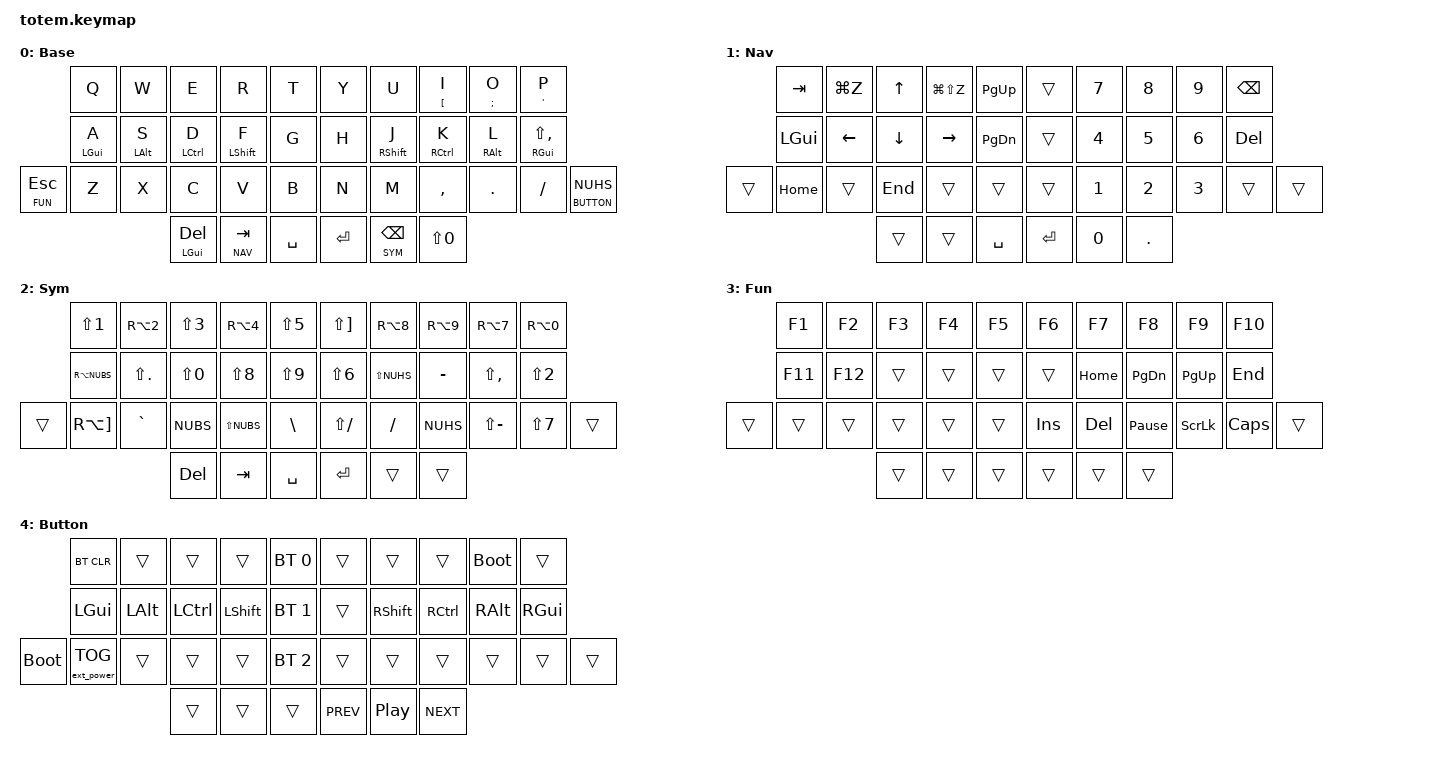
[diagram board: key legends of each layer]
//
//                                                        ▀▀▀▀▀     ▀▀▀▀▀          ▀▀█▀▀
//                                                        ▄▀▀▀▄  ▄  ▄▀▀▀▄  ▄  ▄▀▀▀▄  █  ▄▀▀▀▄
//                                                        █   █  █  █   █  █  █   █  █  █   █
//                                                         ▀▀▀   █   ▀▀▀   █   ▀▀▀   ▀   ▀▀▀
//                                                               █      ▄▄▄█▄▄▄    █   █
//                                                               ▀      █  █  █     █▄█
//                                                             ▀▀▀▀▀    █  █  █      ▀
//                                                                       ▀  ▀  ▀
//
// Totem ZMK — Mac Programmer Edition
// Norwegian Mac Layout · SQL Optimised · 5 Layers · ZMK main branch
//
// Requires macOS keyboard set to "Norwegian" (Bokmål).
//
// ── HOME ROW MODS  (GACS order, pinky → index) ──────────────────────────────
//   Left:  A=⌘Cmd  S=⌥Opt  D=^Ctrl  F=⇧Shift
//   Right: J=⇧Shift  K=^Ctrl  L=⌥Opt  ;=;  (see note below)
//
//   NOTE: On Norwegian Mac, SEMI keycode → Ø.
//   Position 19 (right pinky home) uses LS(COMMA) → ; (semicolon).
//   Right pinky home:  tap=;   hold=⌘Cmd
//
// ── NORDIC CHARS  (hold for 250 ms on top row right hand) ───────────────────
//   I hold → Å    O hold → Ø    P hold → Æ
//   (tap gives the normal letter)
//
// ── LAYER ACCESS ─────────────────────────────────────────────────────────────
//   Hold ESC  → Fun (3)      Tap ESC  → Escape
//   Hold Tab  → Nav (1)      Tap Tab  → Tab
//   Hold BSpc → Sym (2)      Tap BSpc → Backspace
//   Hold '    → Button (4)   Tap '    → ' (NUHS → single quote on Norwegian)
//
// ── KEY NOTES  (Norwegian Mac layout differences from US) ───────────────────
//   SLASH   → -     LS(SLASH) → _
//   MINUS   → +     LS(MINUS) → ?
//   LS(N0)  → =     LS(COMMA) → ;     LS(DOT)  → :     LS(N2) → "
//   LS(N7)  → /     LS(N8)   → (     LS(N9)   → )     LS(N6) → &
//   LS(N1)  → !     RA(N2)   → @     LS(N3)   → #     RA(N4) → $
//   LS(N5)  → %     LS(RBKT) → ^     RA(RBKT) → ~
//   RA(N7)  → {     RA(N8)   → [     RA(N9)   → ]     RA(N0) → }
//   NUBS    → <     LS(NUBS) → >     RA(NUBS) → |
//   NUHS    → '     LS(NUHS) → *     LS(N2)   → "
//   BSLH    → \  (test first; EQUAL may give \ on some systems)
//   GRAVE   → ` (may be dead key — test)
//
// ── COMBOS  (180 ms · bottom row only — home row excluded) ──────────────────
//   Z + X  → Escape
//   N + M  → Screenshot  (⌘⇧4)
//
// See docs/keymap-reference.md for the visual layer map.

#include <behaviors.dtsi>
#include <dt-bindings/zmk/bt.h>
#include <dt-bindings/zmk/ext_power.h>
#include <dt-bindings/zmk/keys.h>

#define BASE    0
#define NAV     1
#define SYM     2
#define FUN     3
#define BUTTON  4

// ─── Global behaviour tweaks ────────────────────────────────────────────────

&mt {
    tapping-term-ms = <200>;
    flavor = "tap-preferred";
    quick-tap-ms = <150>;
};

&lt {
    tapping-term-ms = <250>;
    flavor = "balanced";
    quick-tap-ms = <175>;
};

// ─── Root ───────────────────────────────────────────────────────────────────

/ {

    behaviors {

        // Home row mod — balanced flavour + prior-idle guard.
        // Prevents accidental modifier during fast typing.
        // Hold action fires only if held past 280 ms OR released after another
        // key that was pressed while this was held.
        hm: homerow_mods {
            compatible = "zmk,behavior-hold-tap";
            #binding-cells = <2>;
            flavor = "balanced";
            tapping-term-ms = <280>;
            quick-tap-ms = <175>;
            require-prior-idle-ms = <150>;
            bindings = <&kp>, <&kp>;
        };

        // Nordic character hold-tap — tap-preferred flavour.
        // Tap quickly → normal letter.  Hold 250 ms → Nordic character.
        // No prior-idle guard here so Norwegian characters work smoothly
        // when typing Norwegian words in sequence.
        //
        //   &ht_no LBKT I   →  tap=I   hold=Å  (LBKT = Å on Norwegian Mac)
        //   &ht_no SEMI O   →  tap=O   hold=Ø  (SEMI = Ø on Norwegian Mac)
        //   &ht_no SQT  P   →  tap=P   hold=Æ  (SQT  = Æ on Norwegian Mac)
        ht_no: hold_tap_nordic {
            compatible = "zmk,behavior-hold-tap";
            #binding-cells = <2>;
            flavor = "tap-preferred";
            tapping-term-ms = <250>;
            quick-tap-ms = <125>;
            bindings = <&kp>, <&kp>;
        };
    };

    // ── Combos ──────────────────────────────────────────────────────────────
    //
    // Bottom row only (positions 21-30).  Home row (10-19) is excluded to
    // prevent conflicts with home row mods during normal typing.

    combos {
        compatible = "zmk,combos";

        // Z(21) + X(22) → Escape
        combo_escape {
            bindings = <&kp ESC>;
            key-positions = <21 22>;
            timeout-ms = <180>;
            require-prior-idle-ms = <150>;
            layers = <BASE>;
        };

        // N(26) + M(27) → Screenshot  ⌘⇧4
        combo_screenshot {
            bindings = <&kp LG(LS(N4))>;
            key-positions = <26 27>;
            timeout-ms = <180>;
            require-prior-idle-ms = <150>;
            layers = <BASE>;
        };
    };

    // ── Keymap ──────────────────────────────────────────────────────────────

    keymap {
        compatible = "zmk,keymap";

        // ────────────────────────────────────────────────────────────────────
        // 0 · BASE
        //
        //          Q       W       E       R       T    │    Y       U       I(Å)    O(Ø)    P(Æ)
        //         A⌘      S⌥      D^      F⇧      G    │    H       J⇧      K^      L⌥      ;⌘
        //  [Fun]   Z       X       C       V       B    │    N       M       ,       .       -   [BT]
        //               Del⌘   Tab[Nav]  Spc          │  Enter  BSp[Sym]  =
        //
        //  Position notes (Norwegian Mac):
        //    Pos 19 right pinky home: tap=; (LS(COMMA))  hold=⌘Cmd
        //    Pos 30 /: tap=-   (SLASH → minus on Norwegian)
        //    Pos 31 ': tap='   (NUHS  → single quote on Norwegian)  hold=Button
        //    Pos 37 =: tap==   (LS(N0) → equals on Norwegian)
        //    I/O/P: hold 250 ms for Å/Ø/Æ
        // ────────────────────────────────────────────────────────────────────
        Base {
            bindings = <
                                &kp Q        &kp W        &kp E          &kp R           &kp T              &kp Y       &kp U     &ht_no LBKT I   &ht_no SEMI O   &ht_no SQT P
                           &hm LGUI A   &hm LALT S   &hm LCTRL D   &hm LSHFT F          &kp G              &kp H   &hm RSHFT J   &hm RCTRL K      &hm RALT L   &hm RGUI LS(COMMA)
            &lt FUN ESC        &kp Z        &kp X        &kp C          &kp V           &kp B              &kp N       &kp M      &kp COMMA        &kp DOT       &kp SLASH   &lt BUTTON NUHS
                                       &mt LGUI DEL  &lt NAV TAB    &kp SPACE          &kp RET        &lt SYM BSPC  &kp LS(N0)
            >;
        };

        // ────────────────────────────────────────────────────────────────────
        // 1 · NAV  (hold Tab)
        //
        //       Tab   Undo    ↑    Redo   PgUp  │   ·    7    8    9   Bsp
        //       ⌘      ←      ↓     →    PgDn  │   ·    4    5    6   Del
        //   ·   Home   ·     End    ·      ·   │   ·    1    2    3    ·    ·
        //              ·     [·]   Spc        │  Enter  0    .
        //
        //  Left hand handles undo/redo, arrows, page nav.
        //  Right hand is a numpad: 7-8-9 top, 4-5-6 mid, 1-2-3 bottom.
        //  Right thumb: 0 middle, dot inner.
        //  ⌘ on A position — combine with arrows for word-jump (⌘←/⌘→),
        //    line-start/end; with Z for undo, etc.
        // ────────────────────────────────────────────────────────────────────
        Nav {
            bindings = <
                        &kp TAB   &kp LG(Z)     &kp UP    &kp LG(LS(Z))  &kp PG_UP        &trans    &kp N7    &kp N8    &kp N9    &kp BSPC
                       &kp LGUI    &kp LEFT     &kp DOWN     &kp RIGHT    &kp PG_DN        &trans    &kp N4    &kp N5    &kp N6    &kp DEL
            &trans     &kp HOME     &trans       &kp END      &trans       &trans          &trans    &kp N1    &kp N2    &kp N3    &trans    &trans
                                     &trans       &trans      &kp SPACE    &kp RET         &kp N0    &kp DOT
            >;
        };

        // ────────────────────────────────────────────────────────────────────
        // 2 · SYM  (hold BSpc)
        //
        //       !      @      #      $      %   │   ^      [      ]      {      }
        //       |      :      =      (      )   │   &      *      +      ;      "
        //   ·   ~      `      <      >      \   │   _      -      '      ?      /   ·
        //             Del    Tab    Spc        │  Enter  [·]    ·
        //
        //  All keycodes are Norwegian Mac — do NOT switch OS layout to US.
        //
        //  SQL-priority grouping:
        //    Left home  | : = ( )   ← most-typed operators; right thumb holds layer
        //    Right home & * + ; "   ← secondary; ; = statement terminator
        //    Right top  [ ] { }     ← bracket pairs together
        //    Left top   ! @ # $ %   ← less common in SQL
        //    Bottom row ~ ` < > \   and   _ - ' ? /
        //
        //  Key mapping detail:
        //    !  LS(N1)      @  RA(N2)      #  LS(N3)      $  RA(N4)      %  LS(N5)
        //    ^  LS(RBKT)    [  RA(N8)      ]  RA(N9)      {  RA(N7)      }  RA(N0)
        //    |  RA(NUBS)    :  LS(DOT)     =  LS(N0)      (  LS(N8)      )  LS(N9)
        //    &  LS(N6)      *  LS(NUHS)    +  MINUS        ;  LS(COMMA)  "  LS(N2)
        //    ~  RA(RBKT)    `  GRAVE       <  NUBS         >  LS(NUBS)   \  BSLH
        //    _  LS(SLASH)   -  SLASH       '  NUHS         ?  LS(MINUS)  /  LS(N7)
        //
        //  Note: GRAVE may produce a dead key on Norwegian Mac — test this.
        //  Note: BSLH for \ — if wrong, try EQUAL instead.
        //  Note: RA(RBKT) for ~ — if wrong, try LS(RBKT) or RA(NUBS).
        // ────────────────────────────────────────────────────────────────────
        Sym {
            bindings = <
                        &kp LS(N1)   &kp RA(N2)  &kp LS(N3)  &kp RA(N4)  &kp LS(N5)      &kp LS(RBKT)  &kp RA(N8)  &kp RA(N9)  &kp RA(N7)  &kp RA(N0)
                        &kp RA(NUBS) &kp LS(DOT) &kp LS(N0)  &kp LS(N8)  &kp LS(N9)      &kp LS(N6)    &kp LS(NUHS) &kp MINUS  &kp LS(COMMA) &kp LS(N2)
            &trans      &kp RA(RBKT) &kp GRAVE   &kp NUBS    &kp LS(NUBS) &kp BSLH        &kp LS(SLASH) &kp SLASH   &kp NUHS    &kp LS(MINUS) &kp LS(N7)  &trans
                                      &kp DEL     &kp TAB     &kp SPACE    &kp RET         &trans        &trans
            >;
        };

        // ────────────────────────────────────────────────────────────────────
        // 3 · FUN  (hold ESC)
        //
        //       F1     F2     F3     F4     F5   │   F6     F7     F8     F9    F10
        //      F11    F12     ·      ·      ·    │    ·    Home  PgDn   PgUp   End
        //  [·]  ·      ·      ·      ·      ·    │   Ins   Del   Pause  ScLk   Caps   ·
        //              ·      ·      ·           │    ·     ·      ·
        // ────────────────────────────────────────────────────────────────────
        Fun {
            bindings = <
                       &kp F1   &kp F2   &kp F3   &kp F4   &kp F5         &kp F6    &kp F7    &kp F8          &kp F9    &kp F10
                      &kp F11  &kp F12   &trans    &trans    &trans         &trans   &kp HOME  &kp PG_DN       &kp PG_UP  &kp END
            &trans     &trans   &trans    &trans    &trans    &trans        &kp INS   &kp DEL  &kp PAUSE_BREAK  &kp SLCK  &kp CAPS  &trans
                                 &trans    &trans    &trans    &trans        &trans    &trans
            >;
        };

        // ────────────────────────────────────────────────────────────────────
        // 4 · BUTTON  (hold ')
        //
        //      BtClr   ·      ·      ·    Bt0   │    ·      ·      ·    Boot    ·
        //       ⌘      ⌥      ^      ⇧    Bt1   │    ·      ⇧      ^     ⌥      ⌘
        //  Boot  EP    ·      ·      ·    Bt2   │    ·      ·      ·     ·      ·    ·
        //               ·      ·      ·        │  Prev   Play   Next
        //
        //  BtClr = clear paired device on current profile
        //  Bt0/1/2 = switch Bluetooth profile
        //  Boot = enter bootloader (drag-and-drop firmware update)
        //  EP = external power toggle
        // ────────────────────────────────────────────────────────────────────
        Button {
            bindings = <
                        &bt BT_CLR      &trans       &trans       &trans    &bt BT_SEL 0        &trans          &trans       &trans    &bootloader    &trans
                        &kp LGUI       &kp LALT    &kp LCTRL    &kp LSHFT  &bt BT_SEL 1        &trans       &kp RSHFT    &kp RCTRL     &kp RALT    &kp RGUI
            &bootloader  &ext_power EP_TOG  &trans  &trans        &trans    &bt BT_SEL 2        &trans          &trans       &trans       &trans       &trans  &trans
                                              &trans       &trans       &trans     &kp C_PREV  &kp C_PLAY_PAUSE  &kp C_NEXT
            >;
        };
    };
};
